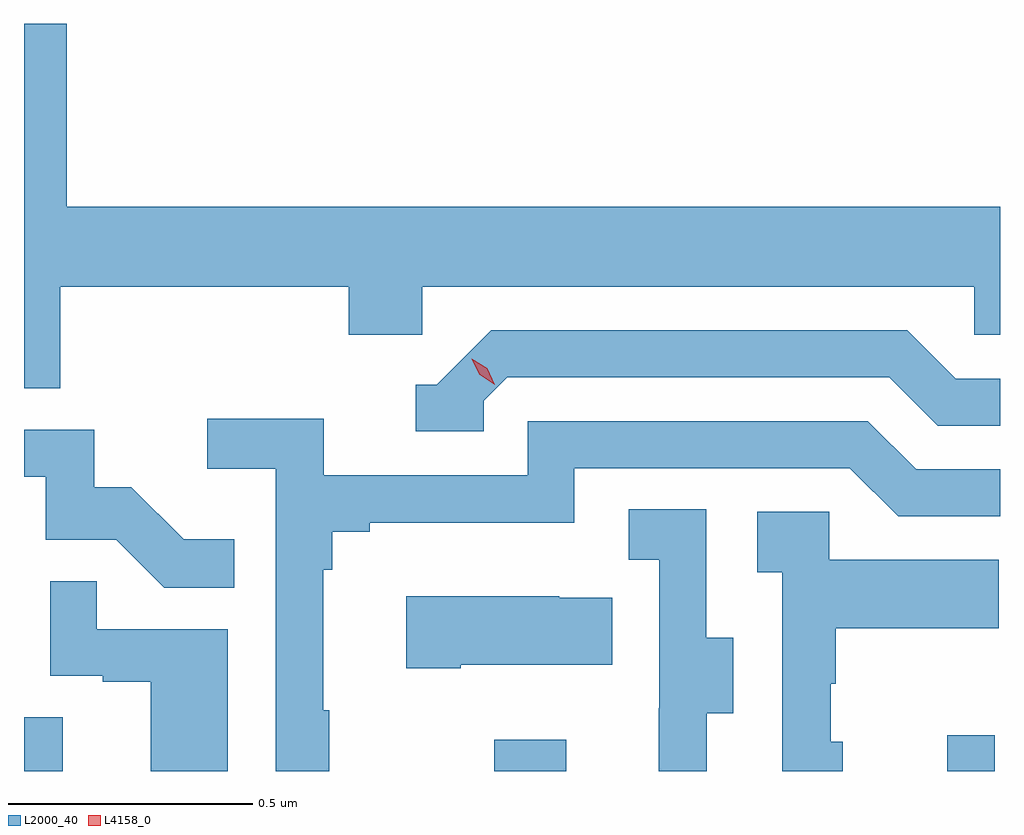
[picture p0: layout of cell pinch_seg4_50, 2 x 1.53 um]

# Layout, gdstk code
import gdstk
lib = gdstk.Library(unit=1e-6, precision=1e-09)
def R(c, l, rs):  # rectangles x0, y0, x1, y1
    for r in rs: c.add(gdstk.rectangle(r[:2], r[2:], *l))
def P(c, l, *ps):  # polygons
    for p in ps: c.add(gdstk.Polygon(p, *l))
L2000_40 = (2000, 40)
L4158_0 = (4158, 0)

pinch_seg4_50 = lib.new_cell('pinch_seg4_50')
R(pinch_seg4_50, L2000_40, [(1142.106,817.14,1142.185,817.25), (1143.07,817.14,1143.217,817.204), (1143.998,817.14,1144.095,817.213)])
P(pinch_seg4_50, L2000_40, [(1142.18,818.132),(1142.771,818.132),(1142.771,818.034),(1142.922,818.034),(1142.922,818.132),(1144.053,818.132),(1144.053,818.034),(1144.106,818.034),(1144.106,818.296),(1142.194,818.296),(1142.194,818.671),(1142.106,818.671),(1142.106,817.924),(1142.18,817.924)],
  [(1143.048,817.899),(1143.096,817.947),(1143.879,817.947),(1143.978,817.848),(1144.106,817.848),(1144.106,817.944),(1144.015,817.944),(1143.916,818.043),(1143.063,818.043),(1142.952,817.932),(1142.909,817.932),(1142.909,817.836),(1143.048,817.836)],
  [(1142.731,817.265),(1142.719,817.265),(1142.719,817.553),(1142.738,817.553),(1142.738,817.63),(1142.815,817.63),(1142.815,817.649),(1143.234,817.649),(1143.234,817.761),(1143.798,817.761),(1143.897,817.662),(1144.106,817.662),(1144.106,817.758),(1143.934,817.758),(1143.835,817.857),(1143.138,817.857),(1143.138,817.746),(1142.72,817.746),(1142.72,817.862),(1142.481,817.862),(1142.481,817.76),(1142.622,817.76),(1142.622,817.14),(1142.731,817.14)],
  [(1142.537,817.615),(1142.433,817.615),(1142.326,817.722),(1142.25,817.722),(1142.25,817.839),(1142.106,817.839),(1142.106,817.743),(1142.151,817.743),(1142.151,817.614),(1142.295,817.614),(1142.393,817.516),(1142.537,817.516)],
  [(1143.505,817.258),(1143.559,817.258),(1143.559,817.413),(1143.504,817.413),(1143.504,817.676),(1143.345,817.676),(1143.345,817.573),(1143.408,817.573),(1143.408,817.269),(1143.407,817.269),(1143.407,817.14),(1143.505,817.14)],
  [(1143.784,817.2),(1143.759,817.2),(1143.759,817.319),(1143.769,817.319),(1143.769,817.433),(1144.103,817.433),(1144.103,817.573),(1143.756,817.573),(1143.756,817.671),(1143.609,817.671),(1143.609,817.547),(1143.66,817.547),(1143.66,817.14),(1143.784,817.14)],
  [(1142.524,817.431),(1142.255,817.431),(1142.255,817.529),(1142.16,817.529),(1142.16,817.335),(1142.267,817.335),(1142.267,817.323),(1142.366,817.323),(1142.366,817.14),(1142.524,817.14)],
  [(1143.001,817.358),(1143.311,817.358),(1143.311,817.495),(1143.203,817.495),(1143.203,817.498),(1142.889,817.498),(1142.889,817.351),(1143.001,817.351)])
P(pinch_seg4_50, L4158_0, [(1143.071,817.932),(1143.04,817.952),(1143.024,817.984),(1143.024,817.985),(1143.024,817.985),(1143.055,817.965),(1143.071,817.932),(1143.071,817.932)])

lib.write_gds('pinch_seg4_50.gds')
